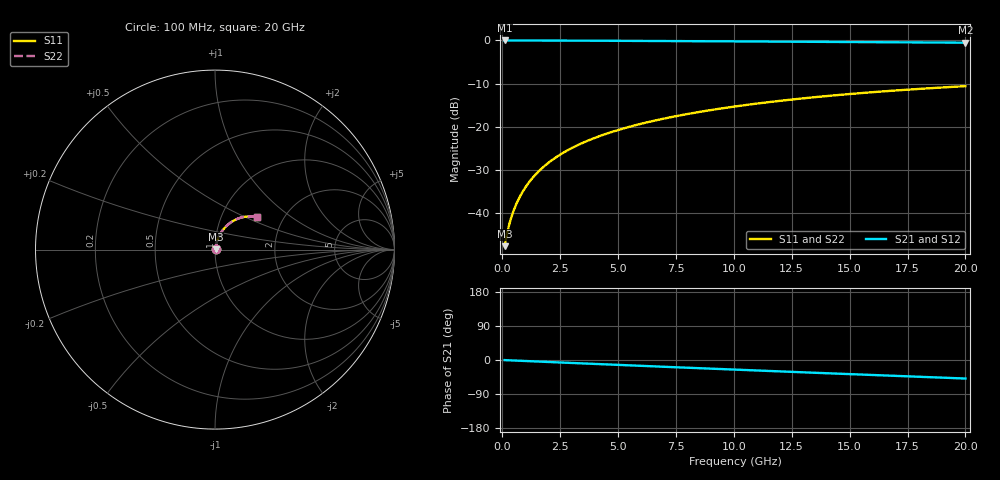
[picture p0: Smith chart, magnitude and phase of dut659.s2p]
! Touchstone file exported from HFSS 2026.1.0
!  File:  C:/ffzhzh/LocalFiles/Ansys_Project_Files/temp_train_TMRDL_659_1783009675_51716.aedt
!  Generated:  12:29:36 AM Jul  3, 2026
!  Design:  TMRDL
!  Project:  temp_train_TMRDL_659_1783009675_51716
! Variables:
!  h_bsmrdl = 2um
!  h_ox = 20um
!  h_rdl = 5um
!  h_sub = 80um
!  h_tmrdl = 4.88um
!  h_tsv = 80um
!  h_via = 3um
!  l_bsmrdl = 300um
!  l_sub = 1224.02um
!  l_tmrdl = 824.02um
!  m_sub = 200um
!  pitch = 31.52um
!  r_tsv = 6um
!  s_tmrdl = 10um
!  w_bsmrdl = 18um
!  w_sub = 500um
!  w_tmrdl = 17.96um
!  x_tsv_center1 = 833um
!  x_tsv_center2 = 1151um
!  x_tsv_center3 = 1992.98um
!  x_tsv_center4 = 2310.98um
!  x_tsv_center5 = 3152.96um
!  x_tsv_center6 = 3470.96um
# GHz S MA R 50.000000
! Terminal data exported
! Port[1] = TM_RDL1_1_T1
! Port[2] = TM_RDL1_1_T2
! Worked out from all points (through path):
!   200 points, 100 MHz to 20 GHz, reference 50 ohm
!   highest |S21| = -0.03 dB at 100 MHz (marker M1); lowest = -0.5 dB at 20 GHz (marker M2)
!   group delay of S21, straight-line fit = 6.77 ps
!   lowest |S11| = -47.6 dB at 100 MHz (marker M3), VSWR 1.01, Z = 50.4 + j0.225 ohm
!   |S11| at or under -10 dB: start of sweep to end of sweep
!   |S22| runs from -47.6 to -10.6 dB; largest |S21 - S12| = 1.1e-14
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0.1  0.004156 32.6  0.9965 -0.3  0.9965 -0.3  0.004156 32.6
! Gamma 0 0 0 0
! Port Impedance 50 0 50 0
0.2  0.005725 48.7  0.9963 -0.6  0.9963 -0.6  0.005725 48.7
0.3  0.007425 57.0  0.996 -0.8  0.996 -0.8  0.007425 57.0
0.4  0.009149 62.1  0.9958 -1.1  0.9958 -1.1  0.009149 62.1
0.5  0.0109 65.7  0.9957 -1.3  0.9957 -1.3  0.0109 65.7
0.6  0.01267 68.4  0.9956 -1.6  0.9956 -1.6  0.01267 68.4
0.8  0.01627 71.9  0.9954 -2.1  0.9954 -2.1  0.01627 71.9
1  0.01994 74.0  0.9952 -2.6  0.9952 -2.6  0.01994 74.0
1.2  0.02363 75.2  0.995 -3.2  0.995 -3.2  0.02363 75.2
1.4  0.02734 76.0  0.9947 -3.7  0.9947 -3.7  0.02734 76.0
1.7  0.03291 76.5  0.9943 -4.5  0.9943 -4.5  0.03291 76.5
2.2  0.04214 76.6  0.9935 -5.8  0.9935 -5.8  0.04214 76.6
2.8  0.05309 75.9  0.9924 -7.3  0.9924 -7.3  0.05309 76.0
3.5  0.06564 74.7  0.9909 -9.1  0.9909 -9.1  0.06564 74.8
4.2  0.07792 73.3  0.9892 -10.9  0.9892 -10.9  0.07792 73.4
5  0.09165 71.6  0.9871 -12.9  0.9871 -12.9  0.09165 71.6
6.8  0.1214 67.6  0.9822 -17.4  0.9822 -17.4  0.1214 67.7
8.3  0.1452 64.3  0.9778 -21.1  0.9778 -21.1  0.1452 64.3
10.1  0.1724 60.2  0.9722 -25.5  0.9722 -25.5  0.1724 60.3
13.4  0.2187 52.8  0.9614 -33.5  0.9614 -33.5  0.2187 52.8
16.7  0.2597 45.4  0.9502 -41.3  0.9502 -41.3  0.2597 45.5
20  0.295 38.1  0.9392 -48.9  0.9392 -48.9  0.295 38.2
